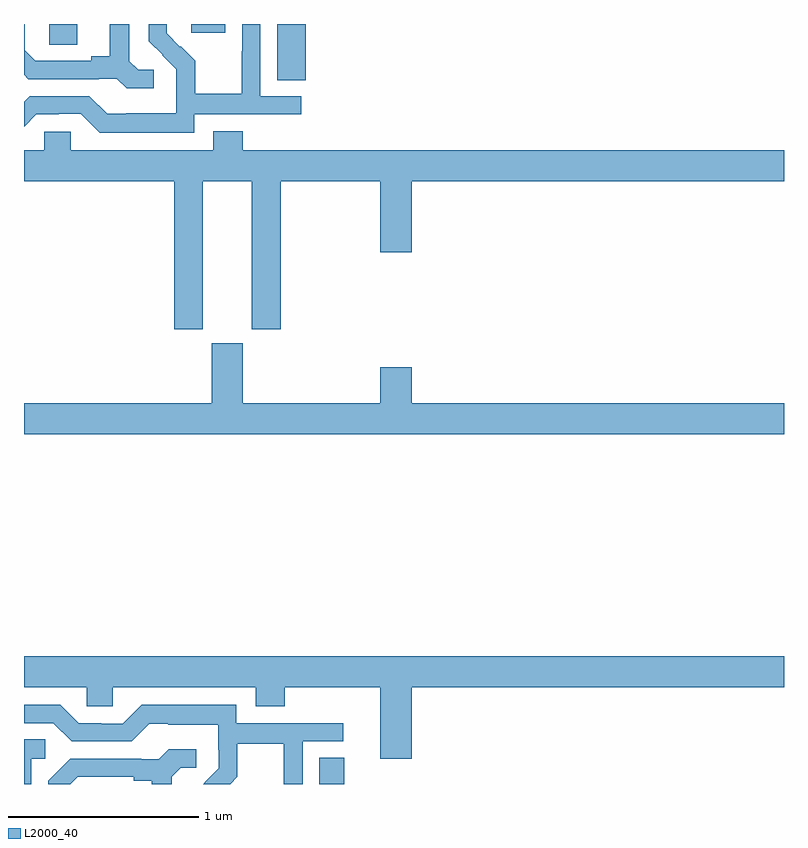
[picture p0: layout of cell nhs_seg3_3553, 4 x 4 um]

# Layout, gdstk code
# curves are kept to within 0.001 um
import gdstk
lib = gdstk.Library(unit=1e-6, precision=1e-09)
def R(c, l, rs):  # rectangles x0, y0, x1, y1
    for r in rs: c.add(gdstk.rectangle(r[:2], r[2:], *l))
def P(c, l, *ps):  # polygons
    for p in ps: c.add(gdstk.Polygon(p, *l))
L2000_40 = (2000, 40)

nhs_seg3_3553 = lib.new_cell('nhs_seg3_3553')
R(nhs_seg3_3553, L2000_40, [(296.555,708.4,296.686,708.539), (296.333,712.105,296.483,712.4), (295.134,712.291,295.279,712.4), (295.88,712.353,296.059,712.4)])
P(nhs_seg3_3553, L2000_40, [(295.896,711.924),(296.458,711.924),(296.458,712.02),(296.244,712.02),(296.244,712.4),(296.148,712.4),(296.148,712.256),(296.146,712.256),(296.146,712.033),(295.901,712.033),(295.901,712.207),(295.824,712.284),(295.821,712.281),(295.751,712.352),(295.751,712.4),(295.656,712.4),(295.656,712.31),(295.802,712.162),(295.802,712.065),(295.8,712.065),(295.8,711.931),(295.537,711.931),(295.537,711.927),(295.437,711.927),(295.344,712.02),(295.029,712.02),(295,711.991),(295,711.859),(295.065,711.924),(295.184,711.924),(295.184,711.927),(295.299,711.927),(295.399,711.827),(295.896,711.827)],
  [(295.684,712.158),(295.602,712.158),(295.555,712.205),(295.555,712.4),(295.451,712.4),(295.451,712.229),(295.355,712.229),(295.355,712.206),(295.06,712.206),(295.003,712.263),(295.003,712.4),(295,712.4),(295,712.132),(295.022,712.11),(295.394,712.11),(295.394,712.113),(295.488,712.113),(295.54,712.061),(295.684,712.061)],
  [(295.942,711.572),(296.198,711.572),(296.198,710.793),(296.351,710.793),(296.351,711.572),(296.876,711.572),(296.876,711.198),(297.04,711.198),(297.04,711.572),(299,711.572),(299,711.736),(296.15,711.736),(296.15,711.835),(295.997,711.835),(295.997,711.736),(295.245,711.736),(295.245,711.834),(295.107,711.834),(295.107,711.736),(295,711.736),(295,711.572),(295.79,711.572),(295.79,710.793),(295.942,710.793)],
  [(299,710.404),(297.04,710.404),(297.04,710.593),(296.876,710.593),(296.876,710.404),(296.152,710.404),(296.152,710.721),(295.988,710.721),(295.988,710.404),(295,710.404),(295,710.24),(299,710.24)],
  [(297.04,708.908),(299,708.908),(299,709.072),(295,709.072),(295,708.908),(295.329,708.908),(295.329,708.81),(295.467,708.81),(295.467,708.908),(296.219,708.908),(296.219,708.809),(296.372,708.809),(296.372,708.908),(296.876,708.908),(296.876,708.534),(297.04,708.534)],
  [(296.123,708.437),(296.123,708.612),(296.368,708.612),(296.368,708.4),(296.466,708.4),(296.466,708.624),(296.68,708.624),(296.68,708.72),(296.118,708.72),(296.118,708.817),(295.621,708.817),(295.521,708.717),(295.406,708.717),(295.406,708.72),(295.287,708.72),(295.191,708.816),(295,708.816),(295,708.72),(295.155,708.72),(295.251,708.624),(295.566,708.624),(295.659,708.717),(295.759,708.717),(295.759,708.713),(296.022,708.713),(296.022,708.579),(296.024,708.579),(296.024,708.482),(295.95,708.408),(295.951,708.407),(295.944,708.4),(296.086,708.4)],
  [(295.038,708.534),(295.111,708.534),(295.111,708.635),(295,708.635),(295,708.4),(295.038,708.4)],
  [(295.282,708.438),(295.577,708.438),(295.577,708.416),(295.673,708.416),(295.673,708.4),(295.777,708.4),(295.777,708.439),(295.824,708.486),(295.906,708.486),(295.906,708.583),(295.762,708.583),(295.71,708.531),(295.616,708.531),(295.616,708.534),(295.244,708.534),(295.128,708.418),(295.128,708.4),(295.244,708.4)])

lib.write_gds('nhs_seg3_3553.gds')
